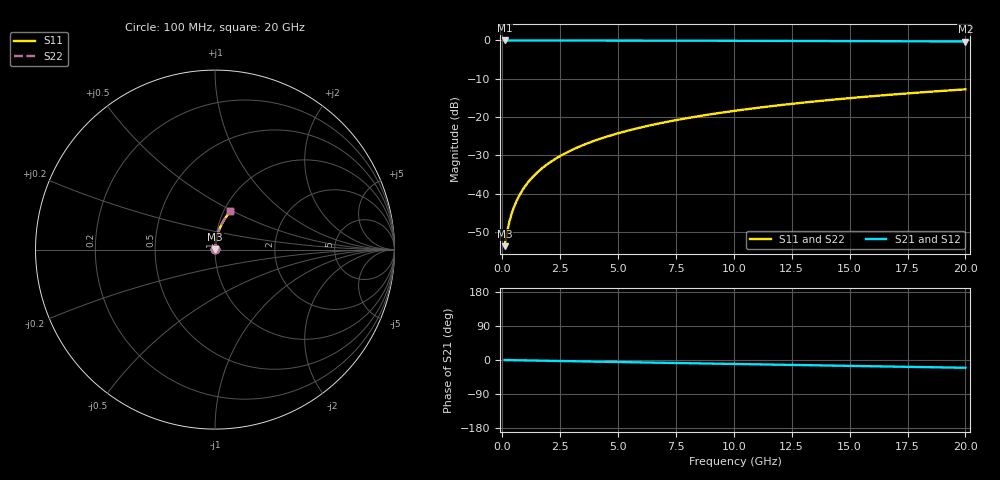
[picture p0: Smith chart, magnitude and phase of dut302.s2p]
! Touchstone file exported from HFSS 2026.1.0
!  File:  C:/ffzhzh/LocalFiles/Ansys_Project_Files/temp_train_TMRDL_302_1783003120_46388.aedt
!  Generated:  10:40:08 PM Jul  2, 2026
!  Design:  TMRDL
!  Project:  temp_train_TMRDL_302_1783003120_46388
! Variables:
!  h_bsmrdl = 2um
!  h_ox = 20um
!  h_rdl = 5um
!  h_sub = 80um
!  h_tmrdl = 3.52um
!  h_tsv = 80um
!  h_via = 3um
!  l_bsmrdl = 300um
!  l_sub = 643.87um
!  l_tmrdl = 243.87um
!  m_sub = 200um
!  pitch = 47.94um
!  r_tsv = 6um
!  s_tmrdl = 10um
!  w_bsmrdl = 18um
!  w_sub = 500um
!  w_tmrdl = 17.66um
!  x_tsv_center1 = 252.7um
!  x_tsv_center2 = 570.7um
!  x_tsv_center3 = 832.23um
!  x_tsv_center4 = 1150.23um
!  x_tsv_center5 = 1411.76um
!  x_tsv_center6 = 1729.76um
# GHz S MA R 50.000000
! Terminal data exported
! Port[1] = TM_RDL1_1_T1
! Port[2] = TM_RDL1_1_T2
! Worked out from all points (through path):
!   200 points, 100 MHz to 20 GHz, reference 50 ohm
!   highest |S21| = -0.01 dB at 100 MHz (marker M1); lowest = -0.3 dB at 20 GHz (marker M2)
!   group delay of S21, straight-line fit = 2.85 ps
!   lowest |S11| = -53.8 dB at 100 MHz (marker M3), VSWR 1.00, Z = 50.2 + j0.131 ohm
!   |S11| at or under -10 dB: start of sweep to end of sweep
!   |S22| runs from -53.8 to -12.8 dB; largest |S21 - S12| = 4e-15
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0.1  0.002052 39.6  0.9984 -0.1  0.9984 -0.1  0.002052 39.6
! Gamma 0 0 0 0
! Port Impedance 50 0 50 0
0.2  0.003067 57.8  0.9984 -0.2  0.9984 -0.2  0.003067 57.8
0.3  0.004217 66.2  0.9983 -0.3  0.9983 -0.3  0.004217 66.2
0.4  0.005399 70.9  0.9983 -0.4  0.9983 -0.4  0.005399 70.9
0.5  0.006591 73.9  0.9982 -0.5  0.9982 -0.5  0.006591 73.9
0.6  0.007788 75.9  0.9982 -0.6  0.9982 -0.6  0.007788 75.9
0.8  0.01019 78.6  0.9981 -0.9  0.9981 -0.9  0.01019 78.6
1.1  0.01382 80.8  0.998 -1.2  0.998 -1.2  0.01382 80.8
1.5  0.01869 82.3  0.9979 -1.6  0.9979 -1.6  0.01869 82.3
1.8  0.02235 82.9  0.9977 -1.9  0.9977 -1.9  0.02235 82.9
2.1  0.02601 83.2  0.9976 -2.2  0.9976 -2.2  0.02601 83.2
2.7  0.03333 83.4  0.9973 -2.9  0.9973 -2.9  0.03333 83.4
3.5  0.04307 83.1  0.9967 -3.7  0.9967 -3.7  0.04307 83.1
4.2  0.05155 82.7  0.9961 -4.5  0.9961 -4.5  0.05155 82.7
5  0.06118 82.1  0.9954 -5.3  0.9954 -5.3  0.06118 82.1
5.9  0.07195 81.4  0.9944 -6.2  0.9944 -6.2  0.07195 81.4
6.8  0.08263 80.6  0.9933 -7.2  0.9933 -7.2  0.08263 80.6
8.3  0.1003 79.2  0.9913 -8.7  0.9913 -8.7  0.1003 79.2
10.1  0.1211 77.4  0.9885 -10.6  0.9885 -10.6  0.1211 77.4
13.4  0.1584 74.3  0.9825 -13.9  0.9825 -13.9  0.1584 74.3
16.7  0.1946 71.1  0.9754 -17.3  0.9754 -17.3  0.1946 71.1
20  0.2295 68.0  0.9674 -20.5  0.9674 -20.5  0.2295 68.0
